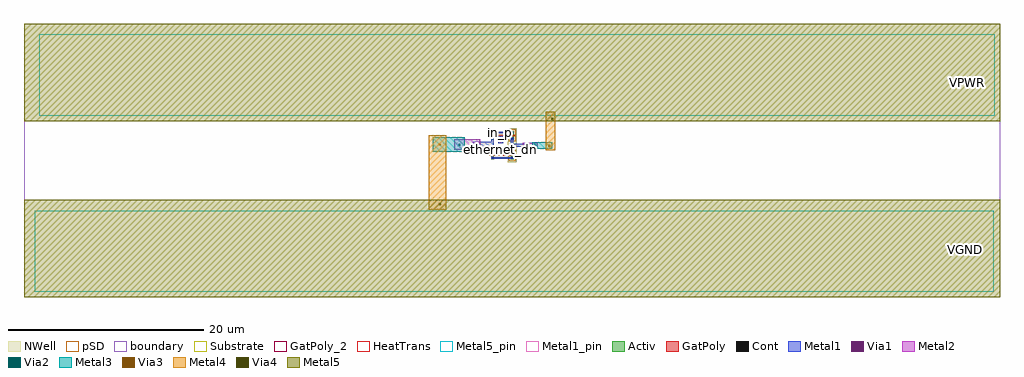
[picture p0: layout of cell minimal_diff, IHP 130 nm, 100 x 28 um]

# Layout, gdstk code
from math import pi, radians
import gdstk
lib = gdstk.Library(unit=1e-6, precision=1e-09)
def R(c, l, rs):  # rectangles x0, y0, x1, y1
    for r in rs: c.add(gdstk.rectangle(r[:2], r[2:], *l))
Activ = (1, 0)
GatPoly = (5, 0)
GatPoly_2 = (5, 2)
Cont = (6, 0)
Metal1 = (8, 0)
Metal1_pin = (8, 2)
Metal2 = (10, 0)
pSD = (14, 0)
Via1 = (19, 0)
Via2 = (29, 0)
Metal3 = (30, 0)
NWell = (31, 0)
Substrate = (40, 0)
Via3 = (49, 0)
Metal4 = (50, 0)
HeatTrans = (51, 0)
Via4 = (66, 0)
Metal5 = (67, 0)
Metal5_pin = (67, 2)
boundary = (189, 4)

pmos = lib.new_cell('pmos')
R(pmos, Activ, [(-17.37,46.56,-17.07,46.86), (-16.8,46.56,-16.5,46.86), (-17.37,46.635,-16.5,46.785)])
R(pmos, GatPoly, [(-17,46.455,-16.87,46.965), (-17,46.455,-16.87,46.965)])
R(pmos, Cont, [(-17.3,46.63,-17.14,46.79), (-16.73,46.63,-16.57,46.79)])
R(pmos, Metal1, [(-17.3,46.58,-17.14,46.84), (-17.3,46.58,-17.14,46.84), (-16.73,46.58,-16.57,46.84), (-16.73,46.58,-16.57,46.84)])
R(pmos, pSD, [(-17.55,46.335,-16.32,47.085)])
R(pmos, NWell, [(-17.68,46.25,-16.19,47.17)])
R(pmos, Substrate, [(-16.8,46.56,-16.5,46.86)])
R(pmos, HeatTrans, [(-17,46.455,-16.87,46.965)])
pmos.add(gdstk.Label('pmos', (-16.935,46.71), layer=63, texttype=0))
pmos.add(gdstk.Label('pmos', (-16.935,46.71), layer=51, texttype=0))

nmos = lib.new_cell('nmos')
R(nmos, Activ, [(-17.37,46.56,-17.07,46.86), (-16.8,46.56,-16.5,46.86), (-17.37,46.635,-16.5,46.785)])
R(nmos, GatPoly, [(-17,46.455,-16.87,46.965)])
R(nmos, GatPoly_2, [(-17,46.455,-16.87,46.965)])
R(nmos, Cont, [(-17.3,46.63,-17.14,46.79), (-16.73,46.63,-16.57,46.79)])
R(nmos, Metal1, [(-17.3,46.58,-17.14,46.84), (-16.73,46.58,-16.57,46.84)])
R(nmos, Metal1_pin, [(-17.3,46.58,-17.14,46.84), (-16.73,46.58,-16.57,46.84)])
R(nmos, HeatTrans, [(-17,46.455,-16.87,46.965)])
nmos.add(gdstk.Label('nmos', (-16.935,46.71), layer=63, texttype=0))
nmos.add(gdstk.Label('nmos', (-16.935,46.71), layer=51, texttype=0))

minimal_diff = lib.new_cell('minimal_diff')
R(minimal_diff, GatPoly, [(48.255,14.5,49.745,14.63), (48.6,14.5,49.1,15), (48.6,16.13,49.1,16.63), (48.255,16.5,49.745,16.63)])
R(minimal_diff, Cont, [(48.77,14.77,48.93,14.93), (48.77,16.2,48.93,16.36)])
R(minimal_diff, Metal1, [(47.87,14.195,50.13,14.355), (48.6,14.63,49.1,15.38), (47.87,14.77,48.13,16.36), (49.87,14.77,50.13,16.36), (45.955,15.285,48.06,15.945), (49.8,15.415,51.575,15.695), (48.6,15.75,49.1,16.5), (47.87,16.77,50.13,16.93)])
R(minimal_diff, Metal1_pin, [(48.77,14.195,48.93,14.355), (48.755,15.06,48.945,15.25), (48.755,15.88,48.945,16.07), (48.77,16.77,48.93,16.93)])
R(minimal_diff, Metal2, [(44.065,15.095,46.735,16.16), (51.085,15.325,52.645,15.795)])
R(minimal_diff, Via1, [(51.225,15.465,51.415,15.655), (46.3,15.535,46.49,15.725)])
R(minimal_diff, Via2, [(52.3,15.465,52.49,15.655), (44.52,15.525,44.71,15.715)])
R(minimal_diff, Metal3, [(41.87,14.915,45.16,16.37), (52.05,15.21,54.135,15.87)])
R(minimal_diff, NWell, [(49.56,13.82,50.48,17.31)])
R(minimal_diff, Via3, [(53.705,15.41,53.895,15.6), (42.515,15.55,42.705,15.74)])
R(minimal_diff, Metal4, [(41.465,8.95,43.27,16.58), (53.48,15.03,54.425,18.98)])
R(minimal_diff, Via4, [(42.515,9.41,42.705,9.6), (54.035,18.165,54.225,18.355)])
R(minimal_diff, Metal5, [(0,0,100,10), (0,18,100,28)])
R(minimal_diff, Metal5_pin, [(1.095,0.55,99.335,8.83), (1.54,18.565,99.445,26.96)])
R(minimal_diff, boundary, [(0,0,100,28)])
minimal_diff.add(gdstk.Reference(pmos, (3.31,-2.37), rotation=3*pi/2))
minimal_diff.add(gdstk.Reference(pmos, (3.31,-0.37), rotation=3*pi/2))
minimal_diff.add(gdstk.Reference(nmos, (1.29,-2.37), rotation=3*pi/2))
minimal_diff.add(gdstk.Reference(nmos, (1.29,-0.37), rotation=3*pi/2))
minimal_diff.add(gdstk.Label('ethernet_dn', (48.835,15.12), layer=8, texttype=25))
minimal_diff.add(gdstk.Label('ethernet_dp', (48.805,15.95), layer=8, texttype=25))
minimal_diff.add(gdstk.Label('in_p', (48.825,16.825), layer=8, texttype=25))
minimal_diff.add(gdstk.Label('in_n', (48.815,14.255), layer=8, texttype=25))
minimal_diff.add(gdstk.Label('VPWR', (96.665,21.985), layer=67, texttype=25))
minimal_diff.add(gdstk.Label('VGND', (96.435,4.855), layer=67, texttype=25))

lib.write_gds('minimal_diff.gds')
